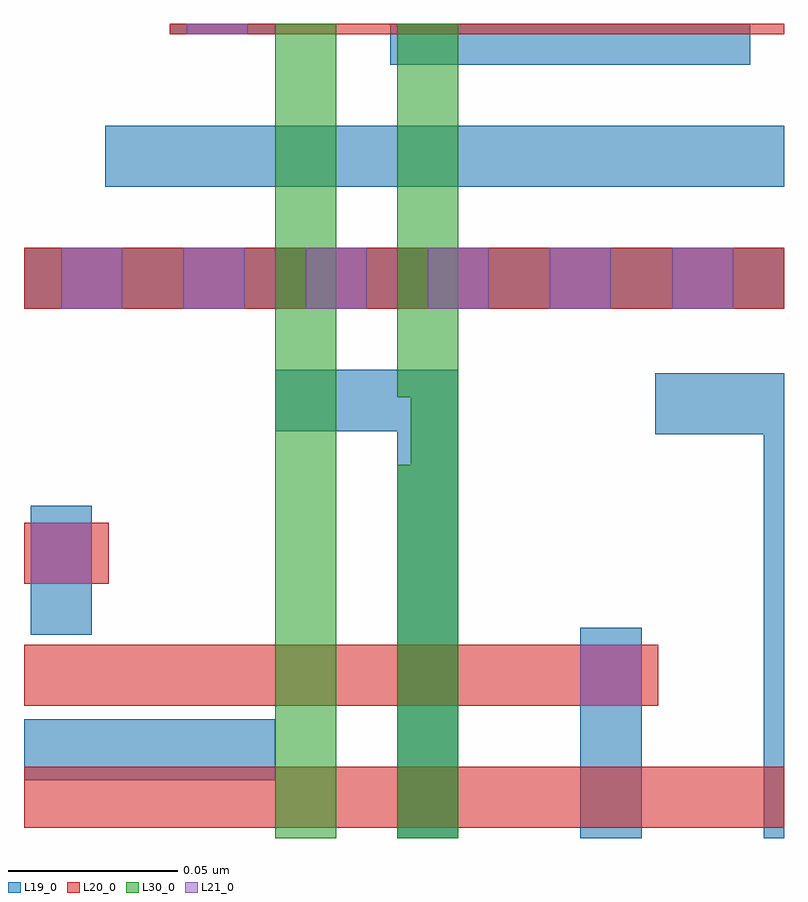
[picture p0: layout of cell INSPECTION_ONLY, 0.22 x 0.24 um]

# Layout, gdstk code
import gdstk
lib = gdstk.Library(unit=1e-6, precision=2.5e-10)
def R(c, l, rs):  # rectangles x0, y0, x1, y1
    for r in rs: c.add(gdstk.rectangle(r[:2], r[2:], *l))
def A(c, l, x, y, w, h, nx, ny, dx, dy):  # array of equal rectangles
    R(c, l, [(x+i*dx, y+j*dy, x+i*dx+w, y+j*dy+h) for i in range(nx) for j in range(ny)])
def P(c, l, *ps):  # polygons
    for p in ps: c.add(gdstk.Polygon(p, *l))
L19_0 = (19, 0)
L20_0 = (20, 0)
L21_0 = (21, 0)
L30_0 = (30, 0)

inspection_only = lib.new_cell('INSPECTION_ONLY')
R(inspection_only, L19_0, [(2.394,2.265,2.412,2.327), (2.23,2.282,2.304,2.3), (2.232,2.325,2.25,2.363), (2.23,2.421,2.454,2.439), (2.23,2.421,2.454,2.439), (2.23,2.421,2.454,2.439), (2.23,2.421,2.454,2.439), (2.254,2.457,2.454,2.475), (2.338,2.493,2.356,2.505), (2.338,2.493,2.444,2.505), (2.273,2.502,2.304,2.505), (2.286,2.502,2.304,2.505)])
P(inspection_only, L19_0, [(2.34,2.265),(2.34,2.385),(2.304,2.385),(2.304,2.403),(2.358,2.403),(2.358,2.265)],
  [(2.448,2.265),(2.448,2.384),(2.416,2.384),(2.416,2.402),(2.454,2.402),(2.454,2.265)])
R(inspection_only, L20_0, [(2.23,2.268,2.454,2.286), (2.23,2.304,2.417,2.322), (2.23,2.34,2.255,2.358), (2.23,2.421,2.454,2.439), (2.273,2.502,2.454,2.505)])
A(inspection_only, L21_0, 2.241, 2.421, 0.018, 0.018, 6, 1, 0.036, 0)
R(inspection_only, L21_0, [(2.394,2.304,2.412,2.322), (2.232,2.34,2.25,2.358), (2.278,2.502,2.296,2.505)])
R(inspection_only, L30_0, [(2.304,2.265,2.322,2.505)])
P(inspection_only, L30_0, [(2.34,2.265),(2.34,2.375),(2.344,2.375),(2.344,2.395),(2.34,2.395),(2.34,2.505),(2.358,2.505),(2.358,2.265)])

lib.write_gds('INSPECTION_ONLY.gds')
